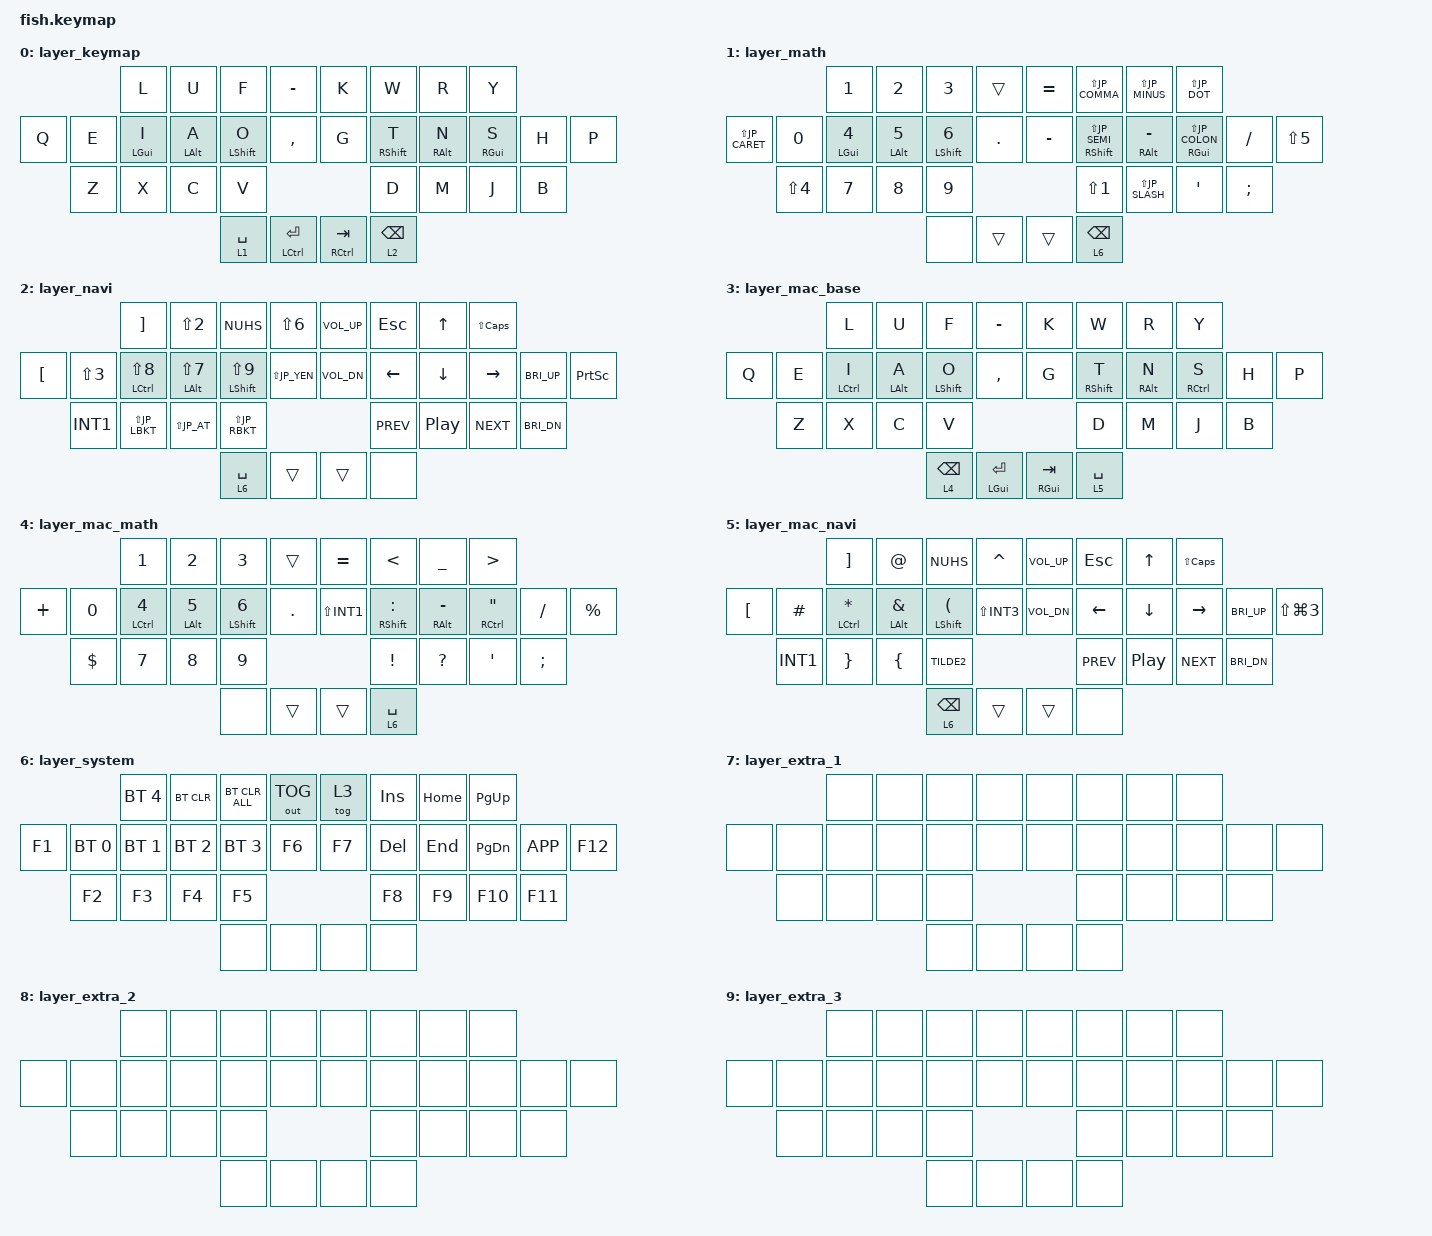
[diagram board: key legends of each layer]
// キーマップを更新する方法は https://o24.works/fish/guide を参照
// 視覚的に編集するには https://o24.works/fish/editor を参照


// 定義を呼んでくる
#include <behaviors.dtsi>
#include <dt-bindings/zmk/keys.h>
#include <dt-bindings/zmk/mouse.h>
#include <dt-bindings/zmk/bt.h>
#include <dt-bindings/zmk/outputs.h>
#include <dt-bindings/zmk/pointing.h>

// JIS用のキーの定義をする
#define JP_ZKHK  GRAVE        // Zenkaku ↔ Hankaku ↔ Kanji (半角 ↔ 全角 ↔ 漢字)
#define JP_MINUS MINUS        // -
#define JP_CARET EQUAL        // ^
#define JP_YEN   INT3         // ¥
#define JP_AT    LBKT         // @
#define JP_LBKT  RBKT         // [
#define JP_EISU  CAPS         // Eisū (英数)
#define JP_SEMI  SEMI         // ;
#define JP_COLON SQT          // :
#define JP_RBKT  NUHS         // ]
#define JP_COMMA COMMA        // ,
#define JP_DOT   DOT          // .
#define JP_SLASH SLASH        // /
#define JP_BSLH  INT1         // (backslash)
#define JP_MHEN  INT5         // Muhenkan (無変換)
#define JP_HENK  INT4         // Henkan (変換)
#define JP_KANA  INT2         // Katakana ↔ Hiragana ↔ Rōmaji (カタカナ ↔ ひらがな ↔ ローマ字)
#define JP_EXCL  LS(N1)       // !
#define JP_DQT   LS(N2)       // "
#define JP_HASH  LS(N3)       // #
#define JP_DLLR  LS(N4)       // $
#define JP_PRCNT LS(N5)       // %
#define JP_AMPS  LS(N6)       // &
#define JP_SQT   LS(N7)       // '
#define JP_LPAR  LS(N8)       // (
#define JP_RPAR  LS(N9)       // )
#define JP_EQUAL LS(JP_MINUS) // =
#define JP_TILDE LS(JP_CARET) // ~
#define JP_PIPE  LS(JP_YEN)   // |
#define JP_GRAVE LS(JP_AT)    // `
#define JP_LBRC  LS(JP_LBKT)  // {
#define JP_CAPS  LS(JP_EISU)  // Caps Lock
#define JP_PLUS  LS(JP_SEMI)  // +
#define JP_ASTRK LS(JP_COLON) // *
#define JP_RBRC  LS(JP_RBKT)  // }
#define JP_LT    LS(JP_COMMA) // <
#define JP_RT    LS(JP_DOT)   // >
#define JP_QMARK LS(JP_SLASH) // ?
#define JP_UNDER LS(JP_BSLH)  // _


// 特殊入力の挙動を調整できる

&mt {
    flavor = "tap-preferred";
    tapping-term-ms = <225>;
    quick-tap-ms = <200>;
    require-prior-idle-ms = <150>;
};

&lt {
    flavor = "balanced";
    tapping-term-ms = <175>;
    quick-tap-ms = <200>;
};

&sk {
};

&sl {
};

&caps_word {
};

&key_repeat {
};


/ {
    // 独自の入力を定義できる（上級者向け）

    behaviors {
    };

    macros {
    };

    conditional_layers {
    };


    // 複数キーの同時押しに特別の入力を設定できる
    // キー番号早見表：
    //       0  1  2  3     4  5  6  7
    // 8  9 10 11 12 13    14 15 16 17 18 19
    //   20 21 22 23          24 25 26 27
    //            28 29    30 31

    combos {
        compatible = "zmk,combos";
        timeout-ms = <100>;
        require-prior-idle-ms = <150>;

        combo_lang2 {
            key-positions = <11 12>;
            bindings = <&kp LANG2>;
        };

        combo_lang1 {
            key-positions = <15 16>;
            bindings = <&kp LANG1>;
        };

        combo_reset_L {
            key-positions = <3 8 13>;
            bindings = <&bootloader>;
        };

        combo_reset_R {
            key-positions = <4 14 19>;
            bindings = <&bootloader>;
        };

        combo_studio_unlock {
            key-positions = <20 21 22 23>;
            bindings = <&studio_unlock>;
        };
    };
    

    // キーに入力を割り当てる
    // 型（&...）は https://zmk.dev/docs/behaviors/... を参照
    // キーコードは https://zmk.dev/docs/codes/... を参照

    keymap {
        compatible = "zmk,keymap";

        layer_keymap {
            bindings = <
                        &kp L       &kp U       &kp F       &kp MINUS           &kp K       &kp W       &kp R       &kp Y       
&kp Q       &kp E       &mt LGUI I  &mt LALT A  &mt LSHFT O &kp COMMA           &kp G       &mt RSHFT T &mt RALT N  &mt RGUI S  &kp H       &kp P       
            &kp Z       &kp X       &kp C       &kp V                                       &kp D       &kp M       &kp J       &kp B       
                                                &lt 1 SPACE &mt LCTRL RET       &mt RCTRL TAB &lt 2 BSPC 
            >;
        };

        layer_math {
            bindings = <
                        &kp N1      &kp N2      &kp N3      &trans              &kp JP_CARET   &kp JP_LT      &kp JP_EQUAL   &kp JP_RT      
&kp JP_TILDE   &kp N0      &mt LGUI N4 &mt LALT N5 &mt LSHFT N6 &kp DOT     &kp MINUS   &mt RSHFT JP_PLUS     &mt RALT MINUS &mt RGUI JP_ASTRK &kp FSLH &kp JP_PRCNT
            &kp JP_DLLR    &kp N7      &kp N8      &kp N9                        &kp JP_EXCL    &kp JP_QMARK   &kp JP_COLON   &kp JP_SEMI    
                                                &none       &trans              &trans      &lt 6 BSPC 
            >;
        };

        layer_navi {
            bindings = <
                        &kp JP_LBKT    &kp JP_DQT     &kp JP_RBKT    &kp JP_AMPS                    &kp C_VOL_UP &kp ESC    &kp UP      &kp LS(CAPS) 
&kp JP_AT    &kp JP_HASH  &mt LCTRL JP_LPAR &mt LALT JP_SQT &mt LSHFT JP_RPAR &kp JP_PIPE     &kp C_VOL_DN &kp LEFT   &kp DOWN    &kp RIGHT   &kp C_BRI_UP &kp PSCRN  
            &kp INT1    &kp JP_LBRC    &kp JP_GRAVE   &kp JP_RBRC                                     &kp C_PREV  &kp C_PP    &kp C_NEXT  &kp C_BRI_DN 
                                                &lt 6 SPACE  &trans              &trans      &none       
            >;
        };

        layer_mac_base {
            bindings = <
                        &kp L       &kp U       &kp F       &kp MINUS           &kp K       &kp W       &kp R       &kp Y       
&kp Q       &kp E       &mt LCTRL I &mt LALT A  &mt LSHFT O &kp COMMA           &kp G       &mt RSHFT T &mt RALT N  &mt RCTRL S &kp H       &kp P       
            &kp Z       &kp X       &kp C       &kp V                                       &kp D       &kp M       &kp J       &kp B       
                                                &lt 4 BSPC  &mt LGUI RET        &mt RGUI TAB &lt 5 SPACE 
            >;
        };

        layer_mac_math {
            bindings = <
                        &kp N1      &kp N2      &kp N3      &trans              &kp EQUAL   &kp LT      &kp UNDER   &kp GT      
&kp PLUS    &kp N0      &mt LCTRL N4 &mt LALT N5 &mt LSHFT N6 &kp DOT           &kp LS(INT1) &mt RSHFT COLON &mt RALT MINUS &mt RCTRL DQT &kp FSLH &kp PRCNT 
            &kp DLLR    &kp N7      &kp N8      &kp N9                                      &kp EXCL    &kp QMARK   &kp SQT     &kp SEMI    
                                                &none       &trans              &trans      &lt 6 SPACE 
            >;
        };

        layer_mac_navi {
            bindings = <
                        &kp RBKT    &kp AT      &kp NUHS    &kp CARET           &kp C_VOL_UP &kp ESC    &kp UP      &kp LS(CAPS) 
&kp LBKT    &kp HASH    &mt LCTRL STAR &mt LALT AMPS &mt LSHFT LPAR &kp LS(INT3) &kp C_VOL_DN &kp LEFT  &kp DOWN    &kp RIGHT   &kp C_BRI_UP &kp LS(LG(N3)) 
            &kp INT1    &kp RBRC    &kp LBRC    &kp TILDE2                                  &kp C_PREV  &kp C_PP    &kp C_NEXT  &kp C_BRI_DN 
                                                &lt 6 BSPC  &trans              &trans      &none       
            >;
        };

        layer_system {
            bindings = <
                        &bt BT_SEL 4 &bt BT_CLR &bt BT_CLR_ALL &out OUT_TOG     &tog 3      &kp INS     &kp HOME    &kp PG_UP   
&kp F1      &bt BT_SEL 0 &bt BT_SEL 1 &bt BT_SEL 2 &bt BT_SEL 3 &kp F6          &kp F7      &kp DEL     &kp END     &kp PG_DN   &kp K_APP   &kp F12     
            &kp F2      &kp F3      &kp F4      &kp F5                                      &kp F8      &kp F9      &kp F10     &kp F11     
                                                &none       &none               &none       &none       
            >;
        };

        layer_extra_1 {
            bindings = <
                        &none       &none       &none       &none               &none       &none       &none       &none       
&none       &none       &none       &none       &none       &none               &none       &none       &none       &none       &none       &none       
            &none       &none       &none       &none                                       &none       &none       &none       &none       
                                                &none       &none               &none       &none       
            >;
        };

        layer_extra_2 {
            bindings = <
                        &none       &none       &none       &none               &none       &none       &none       &none       
&none       &none       &none       &none       &none       &none               &none       &none       &none       &none       &none       &none       
            &none       &none       &none       &none                                       &none       &none       &none       &none       
                                                &none       &none               &none       &none       
            >;
        };

        layer_extra_3 {
            bindings = <
                        &none       &none       &none       &none               &none       &none       &none       &none       
&none       &none       &none       &none       &none       &none               &none       &none       &none       &none       &none       &none       
            &none       &none       &none       &none                                       &none       &none       &none       &none       
                                                &none       &none               &none       &none       
            >;
        };
    };
};
